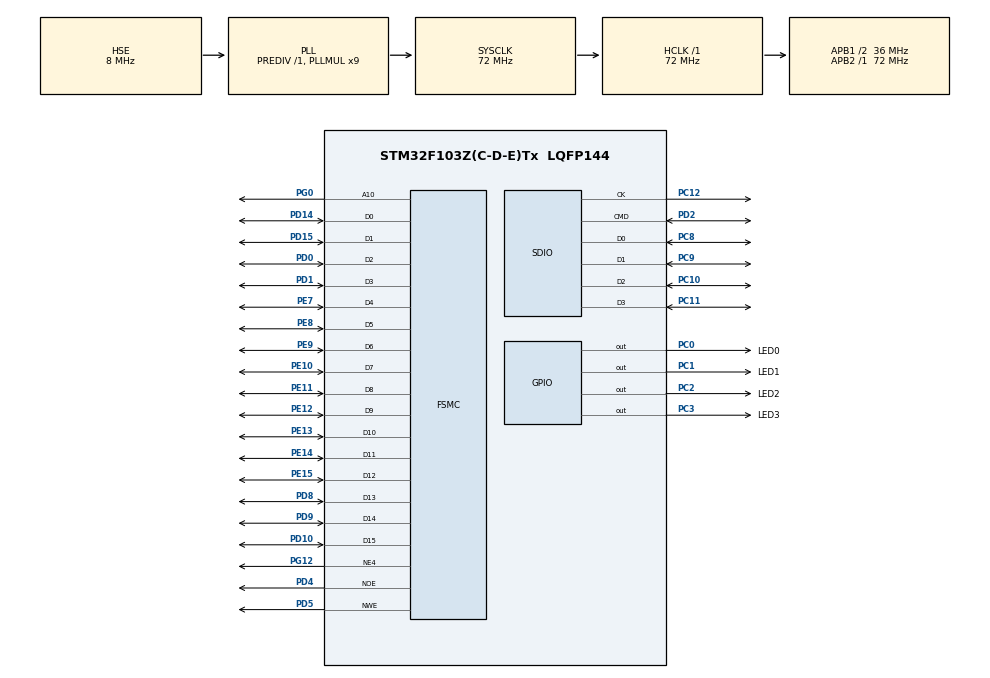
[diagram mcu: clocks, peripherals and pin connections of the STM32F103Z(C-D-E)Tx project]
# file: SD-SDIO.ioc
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FSMC.AddressSetupTime1=1
FSMC.BusTurnAroundDuration1=0
FSMC.DataSetupTime1=1
Mcu.Family=STM32F1
Mcu.Name=STM32F103Z(C-D-E)Tx
Mcu.Package=LQFP144
NVIC.PriorityGroup=NVIC_PRIORITYGROUP_4
NVIC.SDIO_IRQn=true\:0\:0\:false\:false\:true\:true\:true
OSC_IN.Mode=HSE-External-Oscillator
OSC_IN.Signal=RCC_OSC_IN
OSC_OUT.Mode=HSE-External-Oscillator
OSC_OUT.Signal=RCC_OSC_OUT
PA13.Mode=Serial_Wire
PA13.Signal=SYS_JTMS-SWDIO
PA14.Mode=Serial_Wire
PA14.Signal=SYS_JTCK-SWCLK
PC0.GPIO_Label=LED0
PC0.GPIO_ModeDefaultOutputPP=GPIO_MODE_OUTPUT_PP
PC0.GPIO_PuPd=GPIO_NOPULL
PC0.GPIO_Speed=GPIO_SPEED_FREQ_LOW
PC0.PinState=GPIO_PIN_SET
PC0.Signal=GPIO_Output
PC1.GPIO_Label=LED1
PC1.GPIO_ModeDefaultOutputPP=GPIO_MODE_OUTPUT_PP
PC1.GPIO_PuPd=GPIO_NOPULL
PC1.GPIO_Speed=GPIO_SPEED_FREQ_LOW
PC1.PinState=GPIO_PIN_SET
PC1.Signal=GPIO_Output
PC10.Mode=SD_4_bits_Wide_bus
PC10.Signal=SDIO_D2
PC11.Mode=SD_4_bits_Wide_bus
PC11.Signal=SDIO_D3
PC12.Mode=SD_4_bits_Wide_bus
PC12.Signal=SDIO_CK
PC2.GPIO_Label=LED2
PC2.GPIO_ModeDefaultOutputPP=GPIO_MODE_OUTPUT_PP
PC2.GPIO_PuPd=GPIO_NOPULL
PC2.GPIO_Speed=GPIO_SPEED_FREQ_LOW
PC2.PinState=GPIO_PIN_SET
PC2.Signal=GPIO_Output
PC3.GPIO_Label=LED3
PC3.GPIO_ModeDefaultOutputPP=GPIO_MODE_OUTPUT_PP
PC3.GPIO_PuPd=GPIO_NOPULL
PC3.GPIO_Speed=GPIO_SPEED_FREQ_LOW
PC3.PinState=GPIO_PIN_SET
PC3.Signal=GPIO_Output
PC8.Mode=SD_4_bits_Wide_bus
PC8.Signal=SDIO_D0
PC9.Mode=SD_4_bits_Wide_bus
PC9.Signal=SDIO_D1
PD0.Signal=FSMC_D2_DA2
PD1.Signal=FSMC_D3_DA3
PD10.Signal=FSMC_D15_DA15
PD14.Signal=FSMC_D0_DA0
PD15.Signal=FSMC_D1_DA1
PD2.Mode=SD_4_bits_Wide_bus
PD2.Signal=SDIO_CMD
PD4.Signal=FSMC_NOE
PD5.Signal=FSMC_NWE
PD8.Signal=FSMC_D13_DA13
PD9.Signal=FSMC_D14_DA14
PE10.Signal=FSMC_D7_DA7
PE11.Signal=FSMC_D8_DA8
PE12.Signal=FSMC_D9_DA9
PE13.Signal=FSMC_D10_DA10
PE14.Signal=FSMC_D11_DA11
PE15.Signal=FSMC_D12_DA12
PE7.Signal=FSMC_D4_DA4
PE8.Signal=FSMC_D5_DA5
PE9.Signal=FSMC_D6_DA6
PG0.Signal=FSMC_A10
PG12.Mode=NorPsramChipSelect4_1
PG12.Signal=FSMC_NE4
ProjectManager.HeapSize=0x200
ProjectManager.StackSize=0x400
ProjectManager.TargetToolchain=MDK-ARM V5.27
RCC.AHBFreq_Value=72000000
RCC.APB1CLKDivider=RCC_HCLK_DIV2
RCC.APB1Freq_Value=36000000
RCC.APB1TimFreq_Value=72000000
RCC.APB2Freq_Value=72000000
RCC.APB2TimFreq_Value=72000000
RCC.HCLKFreq_Value=72000000
RCC.PLLMUL=RCC_PLL_MUL9
RCC.PLLSourceVirtual=RCC_PLLSOURCE_HSE
RCC.SYSCLKFreq_VALUE=72000000
RCC.SYSCLKSource=RCC_SYSCLKSOURCE_PLLCLK
RCC.USBFreq_Value=72000000
SDIO.ClockBypass=SDIO_CLOCK_BYPASS_DISABLE
SH.FSMC_A10.0=FSMC_A10,A10_1
SH.FSMC_D0_DA0.0=FSMC_D0,16b-d1
SH.FSMC_D10_DA10.0=FSMC_D10,16b-d1
SH.FSMC_D11_DA11.0=FSMC_D11,16b-d1
SH.FSMC_D12_DA12.0=FSMC_D12,16b-d1
SH.FSMC_D13_DA13.0=FSMC_D13,16b-d1
SH.FSMC_D14_DA14.0=FSMC_D14,16b-d1
SH.FSMC_D15_DA15.0=FSMC_D15,16b-d1
SH.FSMC_D1_DA1.0=FSMC_D1,16b-d1
SH.FSMC_D2_DA2.0=FSMC_D2,16b-d1
SH.FSMC_D3_DA3.0=FSMC_D3,16b-d1
SH.FSMC_D4_DA4.0=FSMC_D4,16b-d1
SH.FSMC_D5_DA5.0=FSMC_D5,16b-d1
SH.FSMC_D6_DA6.0=FSMC_D6,16b-d1
SH.FSMC_D7_DA7.0=FSMC_D7,16b-d1
SH.FSMC_D8_DA8.0=FSMC_D8,16b-d1
SH.FSMC_D9_DA9.0=FSMC_D9,16b-d1
SH.FSMC_NOE.0=FSMC_NOE,Lcd1
SH.FSMC_NWE.0=FSMC_NWE,Lcd1
board=custom

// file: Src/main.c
/* USER CODE BEGIN Header */
/**
  ******************************************************************************
  * @file           : main.c
  * @brief          : Main program body
  ******************************************************************************
  * @attention
  *
  * <h2><center>&copy; Copyright (c) 2020 STMicroelectronics.
  * All rights reserved.</center></h2>
  *
  * This software component is licensed by ST under BSD 3-Clause license,
  * the "License"; You may not use this file except in compliance with the
  * License. You may obtain a copy of the License at:
  *                        opensource.org/licenses/BSD-3-Clause
  *
  ******************************************************************************
  */
/* USER CODE END Header */

#include "main.h"
#include "sdio.h"
#include "gpio.h"
#include "fsmc.h"

/* USER CODE BEGIN Includes */
#include <stdio.h>
#include "tftlcd.h"
/* USER CODE END Includes */

void SystemClock_Config(void);

/* USER CODE BEGIN 0 */
int fputc(int ch, FILE *f)
{
	return ITM_SendChar(ch);
}

/* USER CODE END 0 */

int main(void)
{

  /* MCU Configuration--------------------------------------------------------*/

  /* Reset of all peripherals, Initializes the Flash interface and the Systick. */
  HAL_Init();

  /* Configure the system clock */
  SystemClock_Config();

  /* Initialize all configured peripherals */
  MX_GPIO_Init();
  MX_SDIO_SD_Init();
  MX_FSMC_Init();
  /* USER CODE BEGIN 2 */
	HAL_LCD_Init();

	/////////////sd-sdio file system test caption
	const char sd_title[] = "sd-sdio file test!!!";
	HAL_LCD_Print(120 - sizeof(sd_title) * 3, 0, 12, 1, sd_title);
	///////////////////////////////////////////////////////////////////////
	//HAL_SD_InitCard(&hsd);
	//HAL_SD_ReadBlocks()
	//HAL_SD_WriteBlocks();
	//当前使用的是8g hb
	//HAL_Delay(5000);
//	if(HAL_SD_GetCardState(&hsd)== HAL_SD_CARD_TRANSFER)
//	{

		HAL_SD_CardCIDTypeDef HAL_SD_CardCID = {0};
		HAL_SD_GetCardCID(&hsd, &HAL_SD_CardCID);
		HAL_LCD_Print(0, 1 * 12, 12, 1, "Initialize SD card successfully!");
		HAL_LCD_Print(0, 2 * 12, 12, 1, "SD card information!");
		HAL_LCD_Print(0, 3 * 12, 12, 1, "CardCapacity : %llu!", (uint64_t)hsd.SdCard.LogBlockSize * hsd.SdCard.BlockNbr);
		HAL_LCD_Print(0, 4 * 12, 12, 1, "CardBlockNbr: %d!", hsd.SdCard.BlockNbr);
		HAL_LCD_Print(0, 5 * 12, 12, 1, "CardBlockSize : %d!", hsd.SdCard.BlockSize);
		HAL_LCD_Print(0, 6 * 12, 12, 1, "RCA : %d!", hsd.SdCard.RelCardAdd);
		HAL_LCD_Print(0, 7 * 12, 12, 1, "CardType : %d!", hsd.SdCard.CardType);
		HAL_LCD_Print(0, 8 * 12, 12, 1, "ManufacturerID : %d!", HAL_SD_CardCID.ManufacturerID);

		uint8_t buf[512];
		HAL_SD_ReadBlocks(&hsd, buf, 512, 1, 2000);
		uint16_t n = 0;
		for(uint8_t i = 0; i < 64; i++)
		{
			for(uint8_t j =0 ; j < 8; j++)
				printf("%02x ",buf[n++]);
			printf("\n");
		}

  /* USER CODE END 2 */

  /* Infinite loop */
  while (1)
  {

  }
}

void SystemClock_Config(void)
{
  RCC_OscInitTypeDef RCC_OscInitStruct = {0};
  RCC_ClkInitTypeDef RCC_ClkInitStruct = {0};

  /** Initializes the CPU, AHB and APB busses clocks
  */
  RCC_OscInitStruct.OscillatorType = RCC_OSCILLATORTYPE_HSE;
  RCC_OscInitStruct.HSEState = RCC_HSE_ON;
  RCC_OscInitStruct.HSEPredivValue = RCC_HSE_PREDIV_DIV1;
  RCC_OscInitStruct.HSIState = RCC_HSI_ON;
  RCC_OscInitStruct.PLL.PLLState = RCC_PLL_ON;
  RCC_OscInitStruct.PLL.PLLSource = RCC_PLLSOURCE_HSE;
  RCC_OscInitStruct.PLL.PLLMUL = RCC_PLL_MUL9;
  if (HAL_RCC_OscConfig(&RCC_OscInitStruct) != HAL_OK)
  {
    Error_Handler();
  }
  /** Initializes the CPU, AHB and APB busses clocks
  */
  RCC_ClkInitStruct.ClockType = RCC_CLOCKTYPE_HCLK|RCC_CLOCKTYPE_SYSCLK
                              |RCC_CLOCKTYPE_PCLK1|RCC_CLOCKTYPE_PCLK2;
  RCC_ClkInitStruct.SYSCLKSource = RCC_SYSCLKSOURCE_PLLCLK;
  RCC_ClkInitStruct.AHBCLKDivider = RCC_SYSCLK_DIV1;
  RCC_ClkInitStruct.APB1CLKDivider = RCC_HCLK_DIV2;
  RCC_ClkInitStruct.APB2CLKDivider = RCC_HCLK_DIV1;

  if (HAL_RCC_ClockConfig(&RCC_ClkInitStruct, FLASH_LATENCY_2) != HAL_OK)
  {
    Error_Handler();
  }
}

void Error_Handler(void)
{
}

/************************ (C) COPYRIGHT STMicroelectronics *****END OF FILE****/
